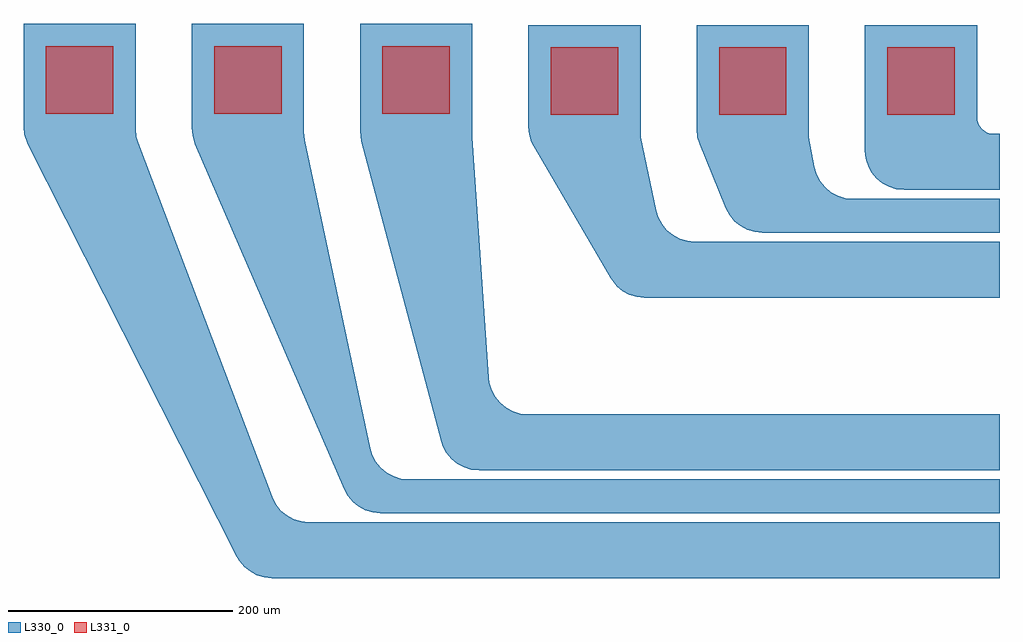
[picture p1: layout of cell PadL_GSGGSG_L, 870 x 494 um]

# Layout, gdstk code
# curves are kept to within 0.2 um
import gdstk
lib = gdstk.Library(unit=1e-6, precision=1e-09)
def R(c, l, rs):  # rectangles x0, y0, x1, y1
    for r in rs: c.add(gdstk.rectangle(r[:2], r[2:], *l))
def A(c, l, x, y, w, h, nx, ny, dx, dy):  # array of equal rectangles
    R(c, l, [(x+i*dx, y+j*dy, x+i*dx+w, y+j*dy+h) for i in range(nx) for j in range(ny)])
def P(c, l, *ps):  # polygons
    for p in ps: c.add(gdstk.Polygon(p, *l))
L330_0 = (330, 0)
L331_0 = (331, 0)

padl_gsggsg_l = lib.new_cell('PadL_GSGGSG_L')
P(padl_gsggsg_l, L330_0, [(356.061,-347),(349.234,-346.328),(342.668,-344.336),(336.617,-341.102),(331.313,-336.749),(326.961,-331.445),(323.726,-325.394),(322.235,-320.985),(251.173,-53.416),(250,-44.431),(250,51),(350,51),(350.081,-50.185),(364.64,-264.373),(365.233,-268.828),(367.225,-275.394),(370.459,-281.445),(374.812,-286.749),(380.116,-291.101),(386.167,-294.336),(392.733,-296.327),(399.561,-297),(820,-297),(820,-347)],
  [(268.05,-385),(261.221,-384.327),(254.656,-382.336),(248.605,-379.101),(243.301,-374.749),(238.948,-369.445),(235.915,-363.871),(102.866,-55.639),(100.673,-48.597),(100,-41.769),(100,51),(200,51),(200,-45.326),(200.763,-52.594),(259.077,-327.268),(260.978,-333.394),(264.212,-339.445),(268.565,-344.749),(273.869,-349.101),(279.92,-352.336),(286.486,-354.327),(293.314,-355),(820,-355),(820,-385)],
  [(171.423,-443),(164.595,-442.328),(158.029,-440.336),(151.978,-437.102),(146.674,-432.749),(142.321,-427.445),(140.211,-423.838),(-46.211,-56.466),(-49.327,-47.456),(-50,-40.628),(-50,51),(50,51),(50,-42.604),(50.673,-49.432),(52.262,-54.982),(171.512,-370.378),(175.148,-377.445),(179.501,-382.749),(184.805,-387.101),(190.856,-390.336),(197.421,-392.327),(204.25,-393),(820,-393),(820,-443)],
  [(608.44,-135),(601.61,-134.325),(595.045,-132.335),(588.995,-129.1),(583.69,-124.75),(579.34,-119.445),(576.075,-113.325),(552.635,-56.4),(550.675,-49.905),(550,-43.075),(550,50),(650,50),(650,-50),(654.775,-76.26),(656.875,-83.395),(660.11,-89.445),(664.46,-94.75),(669.765,-99.1),(675.815,-102.335),(682.38,-104.325),(689.21,-105),(820,-105),(820,-135)],
  [(735,-97),(728.17,-96.325),(721.605,-94.335),(715.555,-91.1),(710.25,-86.75),(705.9,-81.445),(702.82,-75.33),(700.675,-68.83),(700,-62),(700,50),(800,50),(800,-32),(800.29,-34.925),(801.14,-37.74),(802.53,-40.335),(804.395,-42.605),(806.665,-44.47),(809.26,-45.86),(812.075,-46.71),(820,-47),(820,-97)],
  [(503.545,-193),(496.715,-192.33),(490.15,-190.335),(484.1,-187.1),(478.795,-182.75),(473.315,-175.64),(404.77,-58.175),(402.665,-53.93),(400.675,-47.365),(400,-40.535),(400,50),(500,50),(500,-50),(514.055,-115.36),(515.94,-121.395),(519.17,-127.445),(523.525,-132.75),(528.83,-137.1),(534.88,-140.335),(541.445,-142.325),(548.275,-143),(820,-143),(820,-193)])
A(padl_gsggsg_l, L331_0, -30, -29, 60, 60, 3, 1, 150, 0)
R(padl_gsggsg_l, L331_0, [(420,-30,480,30), (420,-30,480,30), (570,-30,630,30), (570,-30,630,30), (720,-30,780,30), (720,-30,780,30)])

lib.write_gds('PadL_GSGGSG_L.gds')
